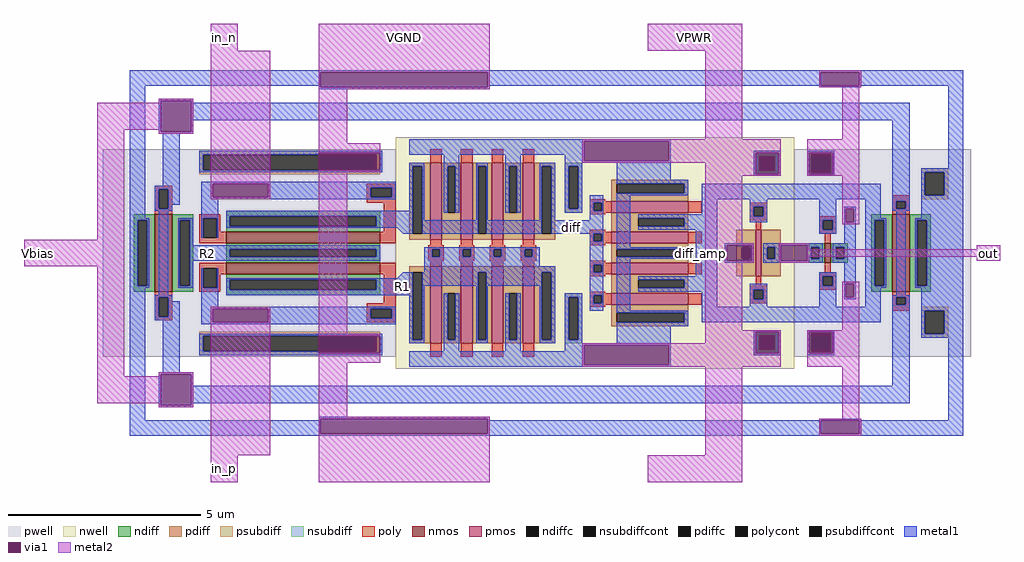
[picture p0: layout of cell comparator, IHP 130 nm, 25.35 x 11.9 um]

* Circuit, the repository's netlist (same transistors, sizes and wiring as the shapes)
** sch_path: /home/anton/projects/ttihp26b-analog-junk/xschem/comparator.sch
.subckt comparator VPWR VGND out in_n in_p Vbias
*.PININFO VPWR:B in_p:I in_n:I out:O VGND:B Vbias:I
MM1 R1 in_p R2 VGND sg13_lv_nmos w=4.00u l=0.30u ng=1
MM4 diff R1 VPWR VPWR sg13_lv_pmos w=8.00u l=0.30u ng=1
MM5 R2 Vbias VGND VGND sg13_lv_nmos w=2.00u l=0.45u ng=1
MM2 diff in_n R2 VGND sg13_lv_nmos w=4.00u l=0.30u ng=1
MM3 R1 R1 VPWR VPWR sg13_lv_pmos w=8.00u l=0.30u ng=1
MM6 diff_amp diff VPWR VPWR sg13_lv_pmos w=8.00u l=0.30u ng=1
MM7 diff_amp Vbias VGND VGND sg13_lv_nmos w=2.00u l=0.45u ng=1
MM8 out diff_amp VPWR VPWR sg13_lv_pmos w=1.20u l=0.15u ng=1
MM9 out diff_amp VGND VGND sg13_lv_nmos w=0.50u l=0.15u ng=1
.ends

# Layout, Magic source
magic
tech ihp-sg13g2
<< nwell >>
rect 965 295 2000 895
<< pwell >>
rect 205 325 965 865
rect 2000 325 2460 865
<< nmos >>
rect 340 495 385 695
rect 525 620 925 650
rect 525 540 925 570
rect 2080 570 2095 620
rect 2255 495 2300 695
<< pmos >>
rect 1055 630 1085 830
rect 1135 630 1165 830
rect 1215 630 1245 830
rect 1295 630 1325 830
rect 1525 700 1725 730
rect 1525 620 1725 650
rect 1055 360 1085 560
rect 1135 360 1165 560
rect 1215 360 1245 560
rect 1295 360 1325 560
rect 1525 540 1725 570
rect 1900 535 1915 655
rect 1525 460 1725 490
<< ndiff >>
rect 285 680 340 695
rect 285 510 295 680
rect 320 510 340 680
rect 285 495 340 510
rect 385 680 440 695
rect 385 510 405 680
rect 430 510 440 680
rect 525 690 925 705
rect 525 665 535 690
rect 915 665 925 690
rect 525 650 925 665
rect 525 605 925 620
rect 525 585 535 605
rect 915 585 925 605
rect 525 570 925 585
rect 385 495 440 510
rect 525 525 925 540
rect 525 500 535 525
rect 915 500 925 525
rect 525 485 925 500
rect 2200 680 2255 695
rect 2035 610 2080 620
rect 2035 580 2045 610
rect 2065 580 2080 610
rect 2035 570 2080 580
rect 2095 610 2140 620
rect 2095 580 2110 610
rect 2130 580 2140 610
rect 2095 570 2140 580
rect 2200 510 2210 680
rect 2235 510 2255 680
rect 2200 495 2255 510
rect 2300 680 2355 695
rect 2300 510 2320 680
rect 2345 510 2355 680
rect 2300 495 2355 510
<< pdiff >>
rect 1000 820 1055 830
rect 1000 645 1010 820
rect 1035 645 1055 820
rect 1000 630 1055 645
rect 1085 820 1135 830
rect 1085 700 1100 820
rect 1120 700 1135 820
rect 1085 630 1135 700
rect 1165 820 1215 830
rect 1165 645 1180 820
rect 1200 645 1215 820
rect 1165 630 1215 645
rect 1245 820 1295 830
rect 1245 700 1260 820
rect 1280 700 1295 820
rect 1245 630 1295 700
rect 1325 820 1380 830
rect 1325 645 1345 820
rect 1370 645 1380 820
rect 1525 775 1725 785
rect 1525 750 1540 775
rect 1715 750 1725 775
rect 1525 730 1725 750
rect 1525 685 1725 700
rect 1525 665 1595 685
rect 1715 665 1725 685
rect 1325 630 1380 645
rect 1525 650 1725 665
rect 1525 605 1725 620
rect 1525 585 1540 605
rect 1715 585 1725 605
rect 1525 570 1725 585
rect 1850 610 1900 655
rect 1850 580 1865 610
rect 1885 580 1900 610
rect 1000 545 1055 560
rect 1000 370 1010 545
rect 1035 370 1055 545
rect 1000 360 1055 370
rect 1085 490 1135 560
rect 1085 370 1100 490
rect 1120 370 1135 490
rect 1085 360 1135 370
rect 1165 545 1215 560
rect 1165 370 1180 545
rect 1200 370 1215 545
rect 1165 360 1215 370
rect 1245 490 1295 560
rect 1245 370 1260 490
rect 1280 370 1295 490
rect 1245 360 1295 370
rect 1325 545 1380 560
rect 1325 370 1345 545
rect 1370 370 1380 545
rect 1525 525 1725 540
rect 1850 535 1900 580
rect 1915 610 1965 655
rect 1915 580 1930 610
rect 1950 580 1965 610
rect 1915 535 1965 580
rect 1525 505 1595 525
rect 1715 505 1725 525
rect 1525 490 1725 505
rect 1325 360 1380 370
rect 1525 440 1725 460
rect 1525 415 1540 440
rect 1715 415 1725 440
rect 1525 405 1725 415
<< ndiffc >>
rect 295 510 320 680
rect 405 510 430 680
rect 535 665 915 690
rect 535 585 915 605
rect 535 500 915 525
rect 2045 580 2065 610
rect 2110 580 2130 610
rect 2210 510 2235 680
rect 2320 510 2345 680
<< pdiffc >>
rect 1010 645 1035 820
rect 1100 700 1120 820
rect 1180 645 1200 820
rect 1260 700 1280 820
rect 1345 645 1370 820
rect 1540 750 1715 775
rect 1595 665 1715 685
rect 1540 585 1715 605
rect 1865 580 1885 610
rect 1010 370 1035 545
rect 1100 370 1120 490
rect 1180 370 1200 545
rect 1260 370 1280 490
rect 1345 370 1370 545
rect 1930 580 1950 610
rect 1595 505 1715 525
rect 1540 415 1715 440
<< psubdiff >>
rect 455 850 925 860
rect 455 810 465 850
rect 915 810 925 850
rect 455 800 925 810
rect 2035 850 2105 860
rect 2035 805 2045 850
rect 2095 805 2105 850
rect 2035 795 2105 805
rect 2330 805 2400 815
rect 2330 745 2340 805
rect 2390 745 2400 805
rect 2330 735 2400 745
rect 455 380 925 390
rect 455 340 465 380
rect 915 340 925 380
rect 2330 445 2400 455
rect 455 330 925 340
rect 2035 385 2105 395
rect 2035 340 2045 385
rect 2095 340 2105 385
rect 2330 385 2340 445
rect 2390 385 2400 445
rect 2330 375 2400 385
rect 2035 330 2105 340
<< nsubdiff >>
rect 1895 845 1965 860
rect 1405 820 1450 830
rect 1405 710 1415 820
rect 1440 710 1450 820
rect 1895 810 1910 845
rect 1950 810 1965 845
rect 1895 795 1965 810
rect 1405 700 1450 710
rect 1405 480 1450 490
rect 1405 370 1415 480
rect 1440 370 1450 480
rect 1405 360 1450 370
rect 1895 380 1965 395
rect 1895 345 1910 380
rect 1950 345 1965 380
rect 1895 330 1965 345
<< psubdiffcont >>
rect 465 810 915 850
rect 2045 805 2095 850
rect 2340 745 2390 805
rect 465 340 915 380
rect 2045 340 2095 385
rect 2340 385 2390 445
<< nsubdiffcont >>
rect 1415 710 1440 820
rect 1910 810 1950 845
rect 1415 370 1440 480
rect 1910 345 1950 380
<< poly >>
rect 1055 830 1085 865
rect 1135 830 1165 865
rect 1215 830 1245 865
rect 1295 830 1325 865
rect 340 760 385 770
rect 340 710 350 760
rect 375 710 385 760
rect 890 765 965 775
rect 890 740 900 765
rect 955 740 965 765
rect 890 725 965 740
rect 340 695 385 710
rect 455 685 510 695
rect 455 635 465 685
rect 500 650 510 685
rect 935 650 965 725
rect 500 635 525 650
rect 455 620 525 635
rect 925 620 965 650
rect 1470 730 1510 735
rect 2255 730 2300 745
rect 1470 725 1525 730
rect 1470 705 1480 725
rect 1500 705 1525 725
rect 1470 700 1525 705
rect 1725 700 1760 730
rect 1885 715 1930 725
rect 1470 695 1510 700
rect 1885 690 1895 715
rect 1920 690 1930 715
rect 2255 710 2265 730
rect 2290 710 2300 730
rect 2255 695 2300 710
rect 1885 680 1930 690
rect 2065 680 2110 690
rect 1470 650 1510 655
rect 1900 655 1915 680
rect 2065 655 2075 680
rect 2100 655 2110 680
rect 1470 645 1525 650
rect 1055 615 1085 630
rect 1135 615 1165 630
rect 1215 615 1245 630
rect 1295 615 1325 630
rect 1470 625 1480 645
rect 1500 625 1525 645
rect 1470 620 1525 625
rect 1725 620 1760 650
rect 1470 615 1510 620
rect 1050 605 1090 615
rect 1050 585 1060 605
rect 1080 585 1090 605
rect 1050 575 1090 585
rect 1130 605 1170 615
rect 1130 585 1140 605
rect 1160 585 1170 605
rect 1130 575 1170 585
rect 1210 605 1250 615
rect 1210 585 1220 605
rect 1240 585 1250 605
rect 1210 575 1250 585
rect 1290 605 1330 615
rect 1290 585 1300 605
rect 1320 585 1330 605
rect 1290 575 1330 585
rect 455 555 525 570
rect 455 505 465 555
rect 500 540 525 555
rect 925 540 965 570
rect 1055 560 1085 575
rect 1135 560 1165 575
rect 1215 560 1245 575
rect 1295 560 1325 575
rect 1470 570 1510 575
rect 1470 565 1525 570
rect 500 505 510 540
rect 455 495 510 505
rect 340 480 385 495
rect 340 430 350 480
rect 375 430 385 480
rect 935 465 965 540
rect 340 420 385 430
rect 890 450 965 465
rect 890 425 900 450
rect 955 425 965 450
rect 890 415 965 425
rect 1470 545 1480 565
rect 1500 545 1525 565
rect 1470 540 1525 545
rect 1725 540 1760 570
rect 1470 535 1510 540
rect 2065 645 2110 655
rect 2080 620 2095 645
rect 2080 545 2095 570
rect 2065 535 2110 545
rect 1900 510 1915 535
rect 2065 510 2075 535
rect 2100 510 2110 535
rect 1470 490 1510 495
rect 1885 500 1930 510
rect 2065 500 2110 510
rect 1470 485 1525 490
rect 1470 465 1480 485
rect 1500 465 1525 485
rect 1470 460 1525 465
rect 1725 460 1760 490
rect 1885 475 1895 500
rect 1920 475 1930 500
rect 1885 465 1930 475
rect 2255 480 2300 495
rect 2255 460 2265 480
rect 2290 460 2300 480
rect 1470 455 1510 460
rect 2255 445 2300 460
rect 1055 325 1085 360
rect 1135 325 1165 360
rect 1215 325 1245 360
rect 1295 325 1325 360
<< polycont >>
rect 350 710 375 760
rect 900 740 955 765
rect 465 635 500 685
rect 1480 705 1500 725
rect 1895 690 1920 715
rect 2265 710 2290 730
rect 2075 655 2100 680
rect 1480 625 1500 645
rect 1060 585 1080 605
rect 1140 585 1160 605
rect 1220 585 1240 605
rect 1300 585 1320 605
rect 465 505 500 555
rect 350 430 375 480
rect 900 425 955 450
rect 1480 545 1500 565
rect 2075 510 2100 535
rect 1480 465 1500 485
rect 1895 475 1920 500
rect 2265 460 2290 480
<< metal1 >>
rect 275 1065 2440 1070
rect 275 1030 770 1065
rect 275 685 315 1030
rect 765 1025 770 1030
rect 1205 1030 2070 1065
rect 2170 1030 2440 1065
rect 1205 1025 1210 1030
rect 2065 1025 2175 1030
rect 765 1020 1210 1025
rect 350 990 440 995
rect 350 910 355 990
rect 435 985 440 990
rect 435 940 2300 985
rect 435 910 440 940
rect 350 905 440 910
rect 360 770 405 905
rect 1000 885 1680 890
rect 455 855 930 860
rect 455 850 765 855
rect 455 810 465 850
rect 925 810 930 855
rect 1000 850 1455 885
rect 455 805 930 810
rect 1000 820 1040 830
rect 340 760 405 770
rect 340 710 350 760
rect 375 720 405 760
rect 460 775 965 780
rect 460 740 490 775
rect 635 765 965 775
rect 635 740 900 765
rect 955 740 965 765
rect 460 735 965 740
rect 375 710 385 720
rect 340 705 385 710
rect 275 680 325 685
rect 275 510 295 680
rect 320 510 325 680
rect 275 505 325 510
rect 275 160 315 505
rect 350 485 375 705
rect 460 685 505 735
rect 1000 705 1010 820
rect 400 680 440 685
rect 400 510 405 680
rect 430 615 440 680
rect 460 635 465 685
rect 500 635 505 685
rect 525 690 1010 705
rect 525 665 535 690
rect 915 665 1010 690
rect 525 660 1010 665
tri 970 645 985 660 ne
rect 985 645 1010 660
rect 1035 680 1040 820
rect 1090 820 1130 850
rect 1090 700 1100 820
rect 1120 700 1130 820
rect 1175 820 1205 830
rect 1175 680 1180 820
rect 1035 645 1180 680
rect 1200 680 1205 820
rect 1250 820 1290 850
rect 1405 835 1455 850
rect 1675 835 1680 885
rect 1405 830 1680 835
rect 1250 700 1260 820
rect 1280 700 1290 820
rect 1340 820 1380 830
rect 1340 680 1345 820
rect 1200 645 1345 680
rect 1370 680 1380 820
rect 1405 820 1450 830
rect 1405 710 1415 820
rect 1440 710 1450 820
rect 1540 785 1680 830
rect 1895 855 1965 860
rect 1895 800 1900 855
rect 1960 800 1965 855
rect 1895 795 1965 800
rect 2035 855 2105 860
rect 2035 800 2040 855
rect 2100 800 2105 855
rect 2035 795 2105 800
rect 1540 775 1725 785
rect 1715 750 1725 775
rect 1540 745 1725 750
rect 1405 700 1450 710
rect 1470 725 1505 745
rect 1470 705 1480 725
rect 1500 705 1505 725
rect 1470 680 1505 705
rect 1370 645 1505 680
rect 1470 625 1480 645
rect 1500 625 1505 645
rect 430 605 925 615
rect 430 585 535 605
rect 915 585 925 605
rect 430 575 925 585
rect 1040 605 1340 610
rect 1040 585 1060 605
rect 1080 585 1140 605
rect 1160 585 1220 605
rect 1240 585 1300 605
rect 1320 585 1340 605
rect 430 510 440 575
rect 1040 560 1340 585
rect 1470 565 1505 625
rect 400 505 440 510
rect 460 505 465 555
rect 500 505 505 555
rect 1040 545 1380 560
tri 970 530 985 545 se
rect 985 530 1010 545
rect 340 480 385 485
rect 340 430 350 480
rect 375 470 385 480
rect 375 430 405 470
rect 340 420 405 430
rect 360 285 405 420
rect 460 455 505 505
rect 525 525 1010 530
rect 525 500 535 525
rect 915 500 1010 525
rect 525 485 1010 500
rect 460 450 965 455
rect 460 415 490 450
rect 635 425 900 450
rect 955 425 965 450
rect 635 415 965 425
rect 460 410 965 415
rect 455 380 930 385
rect 455 340 465 380
rect 455 335 765 340
rect 925 335 930 380
rect 1000 370 1010 485
rect 1035 510 1180 545
rect 1035 370 1040 510
rect 1000 360 1040 370
rect 1090 370 1100 490
rect 1120 370 1130 490
rect 1090 340 1130 370
rect 1175 370 1180 510
rect 1200 510 1345 545
rect 1200 370 1205 510
rect 1175 360 1205 370
rect 1250 370 1260 490
rect 1280 370 1290 490
rect 1250 340 1290 370
rect 1340 370 1345 510
rect 1370 370 1380 545
rect 1470 545 1480 565
rect 1500 545 1505 565
rect 1340 360 1380 370
rect 1405 480 1450 490
rect 1405 370 1415 480
rect 1440 370 1450 480
rect 1470 485 1505 545
rect 1470 465 1480 485
rect 1500 465 1505 485
rect 1470 445 1505 465
rect 1540 610 1575 745
rect 1760 735 2225 775
rect 1760 695 1800 735
rect 1595 685 1800 695
rect 1715 665 1800 685
rect 1885 715 1930 735
rect 1885 690 1895 715
rect 1920 690 1930 715
rect 1885 675 1930 690
rect 2065 680 2110 735
rect 1595 655 1800 665
rect 1540 605 1725 610
rect 1715 585 1725 605
rect 1540 580 1725 585
rect 1540 445 1575 580
rect 1745 535 1800 655
rect 2065 655 2075 680
rect 2100 655 2110 680
rect 2065 645 2110 655
rect 2130 710 2160 715
rect 2130 675 2135 710
rect 2155 675 2160 710
rect 2130 620 2160 675
rect 1820 615 1895 620
rect 1820 575 1825 615
rect 1890 575 1895 615
rect 1820 570 1895 575
rect 1920 615 2075 620
rect 1920 610 1965 615
rect 1920 580 1930 610
rect 1950 580 1965 610
rect 1920 575 1965 580
rect 2035 610 2075 615
rect 2035 580 2045 610
rect 2065 580 2075 610
rect 2035 575 2075 580
rect 1920 570 2075 575
rect 2100 610 2160 620
rect 2100 580 2110 610
rect 2130 580 2160 610
rect 2100 570 2160 580
rect 1595 525 1800 535
rect 1715 505 1800 525
rect 2065 535 2110 545
rect 1595 495 1800 505
rect 1760 455 1800 495
rect 1885 500 1930 515
rect 1885 475 1895 500
rect 1920 475 1930 500
rect 1885 455 1930 475
rect 2065 510 2075 535
rect 2100 510 2110 535
rect 2065 455 2110 510
rect 2130 515 2160 570
rect 2130 480 2135 515
rect 2155 480 2160 515
rect 2130 475 2160 480
rect 2185 685 2225 735
rect 2255 730 2300 940
rect 2400 815 2440 1030
rect 2255 710 2265 730
rect 2290 710 2300 730
rect 2255 705 2300 710
rect 2330 805 2440 815
rect 2330 745 2340 805
rect 2390 745 2440 805
rect 2185 680 2240 685
rect 2185 510 2210 680
rect 2235 510 2240 680
rect 2185 505 2240 510
rect 2185 455 2225 505
rect 2265 485 2290 705
rect 2330 685 2440 745
rect 2315 680 2440 685
rect 2315 510 2320 680
rect 2345 510 2440 680
rect 2315 505 2440 510
rect 1405 360 1450 370
rect 1540 440 1725 445
rect 1715 415 1725 440
rect 1760 415 2225 455
rect 2255 480 2300 485
rect 2255 460 2265 480
rect 2290 460 2300 480
rect 1540 405 1725 415
rect 1540 360 1680 405
rect 1405 355 1680 360
rect 1405 340 1455 355
rect 455 330 930 335
rect 1000 305 1455 340
rect 1675 305 1680 355
rect 1895 390 1965 395
rect 1895 335 1900 390
rect 1960 335 1965 390
rect 1895 330 1965 335
rect 2035 390 2105 395
rect 2035 335 2040 390
rect 2100 335 2105 390
rect 2035 330 2105 335
rect 1000 300 1680 305
rect 350 280 440 285
rect 350 200 355 280
rect 435 250 440 280
rect 2255 250 2300 460
rect 2330 445 2440 505
rect 2330 385 2340 445
rect 2390 385 2440 445
rect 2330 375 2440 385
rect 435 205 2300 250
rect 435 200 440 205
rect 350 195 440 200
rect 765 165 1210 170
rect 765 160 770 165
rect 275 125 770 160
rect 1205 160 1210 165
rect 2065 160 2175 165
rect 2400 160 2440 375
rect 1205 125 2070 160
rect 2170 125 2440 160
rect 275 120 2440 125
<< via1 >>
rect 770 1025 1205 1065
rect 2070 1030 2170 1065
rect 355 910 435 990
rect 765 850 925 855
rect 765 810 915 850
rect 915 810 925 850
rect 490 740 635 775
rect 1455 835 1675 885
rect 1900 845 1960 855
rect 1900 810 1910 845
rect 1910 810 1950 845
rect 1950 810 1960 845
rect 1900 800 1960 810
rect 2040 850 2100 855
rect 2040 805 2045 850
rect 2045 805 2095 850
rect 2095 805 2100 850
rect 2040 800 2100 805
rect 490 415 635 450
rect 765 340 915 380
rect 915 340 925 380
rect 765 335 925 340
rect 2135 675 2155 710
rect 1825 610 1890 615
rect 1825 580 1865 610
rect 1865 580 1885 610
rect 1885 580 1890 610
rect 1825 575 1890 580
rect 1965 575 2035 615
rect 2135 480 2155 515
rect 1455 305 1675 355
rect 1900 380 1960 390
rect 1900 345 1910 380
rect 1910 345 1950 380
rect 1950 345 1960 380
rect 1900 335 1960 345
rect 2040 385 2100 390
rect 2040 340 2045 385
rect 2045 340 2095 385
rect 2095 340 2100 385
rect 2040 335 2100 340
rect 355 200 435 280
rect 770 125 1205 165
rect 2070 125 2170 160
<< metal2 >>
rect 485 1120 555 1190
rect 350 990 440 995
rect 350 985 355 990
rect 190 915 355 985
rect 190 630 260 915
rect 350 910 355 915
rect 435 910 440 990
rect 350 905 440 910
rect 485 775 640 1120
rect 485 740 490 775
rect 635 740 640 775
rect 485 735 640 740
rect 765 1065 1210 1190
rect 1620 1120 1865 1190
rect 765 1025 770 1065
rect 1205 1025 1210 1065
rect 765 1020 1210 1025
rect 765 880 840 1020
rect 1770 890 1865 1120
rect 2065 1065 2175 1070
rect 2065 1030 2070 1065
rect 2170 1030 2175 1065
rect 2065 1025 2175 1030
rect 2125 890 2170 1025
rect 1450 885 1965 890
rect 765 855 925 880
rect 1450 835 1455 885
rect 1675 855 1965 885
rect 1675 835 1900 855
rect 1450 830 1900 835
rect 765 805 925 810
rect 0 560 260 630
rect 190 275 260 560
rect 485 450 640 455
rect 485 415 490 450
rect 635 415 640 450
rect 350 280 440 285
rect 350 275 355 280
rect 190 205 355 275
rect 350 200 355 205
rect 435 200 440 280
rect 350 195 440 200
rect 485 70 640 415
rect 765 385 840 805
rect 1770 800 1900 830
rect 1960 800 1965 855
rect 1770 795 1965 800
rect 2035 855 2170 890
rect 2035 800 2040 855
rect 2100 800 2170 855
rect 2035 795 2170 800
rect 1770 620 1865 795
rect 2125 710 2170 795
rect 2125 675 2135 710
rect 2155 675 2170 710
rect 2125 670 2170 675
rect 1770 615 1895 620
rect 1770 575 1825 615
rect 1890 575 1895 615
rect 1770 570 1895 575
rect 1960 615 2040 620
rect 1960 575 1965 615
rect 2035 605 2040 615
rect 2475 605 2535 615
rect 2035 585 2535 605
rect 2035 575 2040 585
rect 2475 575 2535 585
rect 1960 570 2040 575
rect 1770 395 1865 570
rect 2125 515 2170 520
rect 2125 480 2135 515
rect 2155 480 2170 515
rect 2125 395 2170 480
rect 1770 390 1965 395
rect 765 380 925 385
rect 1770 360 1900 390
rect 765 310 925 335
rect 1450 355 1900 360
rect 765 170 840 310
rect 1450 305 1455 355
rect 1675 335 1900 355
rect 1960 335 1965 390
rect 1675 305 1965 335
rect 1450 300 1965 305
rect 2035 390 2170 395
rect 2035 335 2040 390
rect 2100 335 2170 390
rect 2035 300 2170 335
rect 765 165 1210 170
rect 765 125 770 165
rect 1205 125 1210 165
rect 485 0 555 70
rect 765 0 1210 125
rect 1770 70 1865 300
rect 2125 165 2170 300
rect 2065 160 2175 165
rect 2065 125 2070 160
rect 2170 125 2175 160
rect 2065 120 2175 125
rect 1620 0 1865 70
<< labels >>
flabel space 1750 575 1765 615 0 FreeSans 56 90 0 0 diff_amp
flabel metal1 460 580 495 610 0 FreeSans 120 0 0 0 R2
flabel metal1 970 495 995 520 0 FreeSans 120 0 0 0 R1
flabel metal1 1390 650 1455 675 0 FreeSans 120 0 0 0 diff
flabel metal2 1620 1120 1865 1190 0 FreeSans 320 0 0 0 VPWR
port 6 nsew
flabel metal2 765 1120 1210 1190 0 FreeSans 320 0 0 0 VGND
port 4 nsew
flabel metal2 485 1120 555 1190 0 FreeSans 160 0 0 0 in_n
port 2 nsew
flabel metal2 485 0 555 70 0 FreeSans 160 0 0 0 in_p
port 1 nsew
flabel metal2 0 560 70 630 0 FreeSans 160 0 0 0 Vbias
port 0 nsew
flabel metal2 2475 575 2535 615 0 FreeSans 160 0 0 0 out
port 7 nsew
<< end >>
